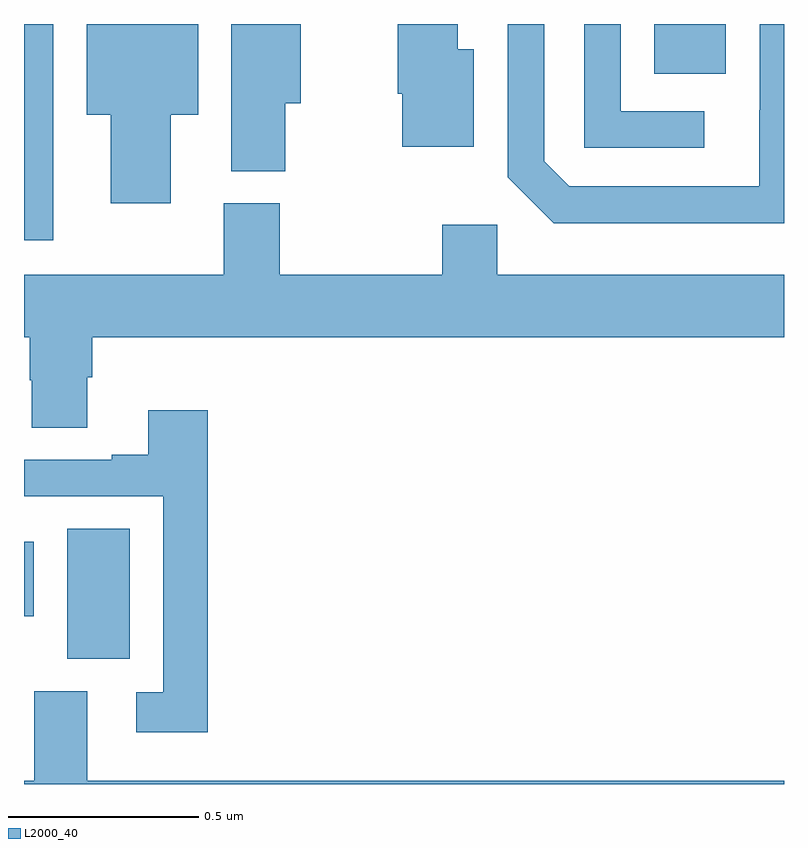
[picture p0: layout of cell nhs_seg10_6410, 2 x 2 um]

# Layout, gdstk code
import gdstk
lib = gdstk.Library(unit=1e-6, precision=1e-09)
def R(c, l, rs):  # rectangles x0, y0, x1, y1
    for r in rs: c.add(gdstk.rectangle(r[:2], r[2:], *l))
def P(c, l, *ps):  # polygons
    for p in ps: c.add(gdstk.Polygon(p, *l))
L2000_40 = (2000, 40)

nhs_seg10_6410 = lib.new_cell('nhs_seg10_6410')
R(nhs_seg10_6410, L2000_40, [(191.114,1272.829,191.278,1273.172), (191,1272.941,191.026,1273.138), (191,1273.931,191.077,1274.5), (192.659,1274.369,192.847,1274.5)])
P(nhs_seg10_6410, L2000_40, [(191.386,1274.261),(191.458,1274.261),(191.458,1274.5),(191.165,1274.5),(191.165,1274.261),(191.228,1274.261),(191.228,1274.028),(191.386,1274.028)],
  [(193,1274.5),(192.936,1274.5),(192.936,1274.273),(192.935,1274.273),(192.935,1274.073),(192.435,1274.073),(192.369,1274.139),(192.369,1274.5),(192.273,1274.5),(192.273,1274.097),(192.394,1273.976),(193,1273.976)],
  [(192.79,1274.271),(192.57,1274.271),(192.57,1274.5),(192.474,1274.5),(192.474,1274.175),(192.79,1274.175)],
  [(192.184,1274.434),(192.142,1274.434),(192.142,1274.5),(191.984,1274.5),(191.984,1274.316),(191.996,1274.316),(191.996,1274.177),(192.184,1274.177)],
  [(191.688,1274.291),(191.728,1274.291),(191.728,1274.5),(191.546,1274.5),(191.546,1274.113),(191.688,1274.113)],
  [(191.167,1273.57),(191.18,1273.57),(191.18,1273.676),(193,1273.676),(193,1273.84),(192.246,1273.84),(192.246,1273.972),(192.1,1273.972),(192.1,1273.84),(191.673,1273.84),(191.673,1274.028),(191.525,1274.028),(191.525,1273.84),(191,1273.84),(191,1273.676),(191.015,1273.676),(191.015,1273.563),(191.02,1273.563),(191.02,1273.438),(191.167,1273.438)],
  [(191.483,1273.483),(191.327,1273.483),(191.327,1273.366),(191.231,1273.366),(191.231,1273.353),(191,1273.353),(191,1273.257),(191.367,1273.257),(191.367,1272.741),(191.295,1272.741),(191.295,1272.636),(191.483,1272.636)],
  [(193,1272.508),(191.167,1272.508),(191.167,1272.744),(191.027,1272.744),(191.027,1272.508),(191,1272.508),(191,1272.5),(193,1272.5)])

lib.write_gds('nhs_seg10_6410.gds')
